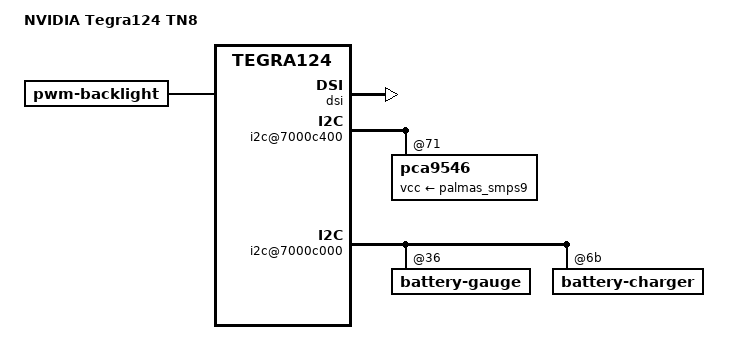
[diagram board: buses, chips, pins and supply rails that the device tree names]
/*
 * arch/arm/boot/dts/tegra124-tn8-e1780-1100-a02.dts
 *
 * Copyright (c) 2013-2014, NVIDIA CORPORATION.  All rights reserved.
 *
 * This program is free software; you can redistribute it and/or modify
 * it under the terms of the GNU General Public License as published by
 * the Free Software Foundation; either version 2 of the License, or
 * (at your option) any later version.
 *
 * This program is distributed in the hope that it will be useful, but WITHOUT
 * ANY WARRANTY; without even the implied warranty of MERCHANTABILITY or
 * FITNESS FOR A PARTICULAR PURPOSE.  See the GNU General Public License for
 * more details.
 *
 * You should have received a copy of the GNU General Public License along
 * with this program; if not, write to the Free Software Foundation, Inc.,
 * 51 Franklin Street, Fifth Floor, Boston, MA  02110-1301, USA.
 */
/dts-v1/;

#include "tegra124-tn8.dtsi"
#include "tegra124-platforms/tegra124-tn8-dfll.dtsi"
#include "tegra124-platforms/tegra124-tn8-emc-e1780-1100-a02.dtsi"
#include "tegra124-platforms/tegra124-tn8-powermon-e1780-1100-a00.dtsi"
#include "tegra124-platforms/tegra124-tn8-power-tree-e1736-1000-a00.dtsi"
#include "tegra124-platforms/tegra124-tn8-gpio-e1780-1100-a02.dtsi"
#include "tegra124-platforms/tegra124-tn8-pinmux-e1780-1100-a02.dtsi"
#include "tegra124-platforms/tegra124-tn8-keys-e1780-1100-a02.dtsi"
#include "tegra124-platforms/tegra124-tn8-sensor-e1794-1000-a00.dtsi"
#include "tegra124-platforms/tegra124-tn8-camera-e1780-a00.dtsi"
#include "tegra124-platforms/tegra124-tn8-sysedp-e1780-1100-a02.dtsi"
#include "panel-l-wxga-7.dtsi"
#include "panel-p-wuxga-10-1.dtsi"
#include "tegra124-platforms/tegra124-tn8-hdmi-e1780-1100-a00.dtsi"
#include "tegra124-platforms/tegra124-tn8-thermal-zone-e1736-1000-a00.dtsi"
#include "tegra124-platforms/tegra124-tn8-usb-devices.dtsi"
#include "tegra124-platforms/tegra124-tn8-comms.dtsi"

/ {
	model = "NVIDIA Tegra124 TN8";
	compatible = "nvidia,tn8", "nvidia,tegra124";
	nvidia,dtsfilename = __FILE__;
	nvidia,boardids = "1780:1100:2","1794:1000:0";
	#address-cells = <2>;
	#size-cells = <2>;

	chosen {
		bootargs = "tegraid=40.0.0.00.00 vmalloc=256M video=tegrafb console=ttyS0,115200n8 earlyprintk";
		linux,initrd-start = <0x85000000>;
		linux,initrd-end = <0x851bc400>;
	};

	firmware {
		android {
			compatible = "android,firmware";
			hardware = "tn8";
		};
	};

	host1x {
		/* tegradc.0 */
		dc@54200000 {
			status = "okay";
			nvidia,dc-flags = <TEGRA_DC_FLAG_ENABLED>;
			nvidia,emc-clk-rate = <204000000>;
			nvidia,cmu-enable = <1>;
			nvidia,low-v-win = <0x2>;
			nvidia,fb-bpp = <32>; /* bits per pixel */
			nvidia,fb-flags = <TEGRA_FB_FLIP_ON_PROBE>;
		};
		/* tegradc.1 */
		dc@54240000 {
			status = "okay";
			nvidia,dc-flags = <TEGRA_DC_FLAG_ENABLED>;
			nvidia,emc-clk-rate = <300000000>;
			nvidia,cmu-enable = <1>;
			nvidia,fb-bpp = <32>; /* bits per pixel */
			nvidia,fb-flags = <TEGRA_FB_FLIP_ON_PROBE>;
		};
		dsi {
			nvidia,dsi-controller-vs = <DSI_VS_1>;
			status = "okay";
			panel-l-wxga-7 {
				nvidia,panel-bl-pwm-gpio = <&gpio TEGRA_GPIO(H, 1) 0>; /* PH1 */
			};
			panel-p-wuxga-10-1 {
				nvidia,dsi-dpd-pads = <DSIC_DPD_EN DSID_DPD_EN>;
				nvidia,panel-rst-gpio = <&gpio TEGRA_GPIO(H, 3) 0>; /* PH3 */
				nvidia,panel-bl-pwm-gpio = <&gpio TEGRA_GPIO(H, 1) 0>; /* PH1 */
			};
		};
	};

	i2c@7000c400 {
		pca9546@71 {
			vcc-supply = <&palmas_smps9>;
		};
	};
	backlight {
		compatible = "pwm-backlight";
		status = "okay";
	};

	i2c@7000c000 {
		battery-gauge@36 {
			dt-override-status-odm-data = <0x00C00000 0x00400000>;
		};
		battery-charger@6b {
			charger {
				dt-override-status-odm-data = <0x00C00000 0x00400000>;
			};
		};
	};

	sysedp_batmon_calc {
		dt-override-status-odm-data = <0x00C00000 0x00400000>;
	};

	therm_est_sensor {
		subdev {
			subdev_names = "Tdiode_tegra", "Tboard_tegra";

			coeff_set@0 {
				toffset = <9793>;
				coeffs = <
					2 1 1 1 1 1 1 1 1 1 1 0 1 1 0 0 0 0 (-1) (-7)
					(-11) (-7) (-5) (-3) (-3) (-2) (-1) 0 0 0 1 1 1 2 2 3 4 6 11 18
				>;
			};
		};
	};
};

